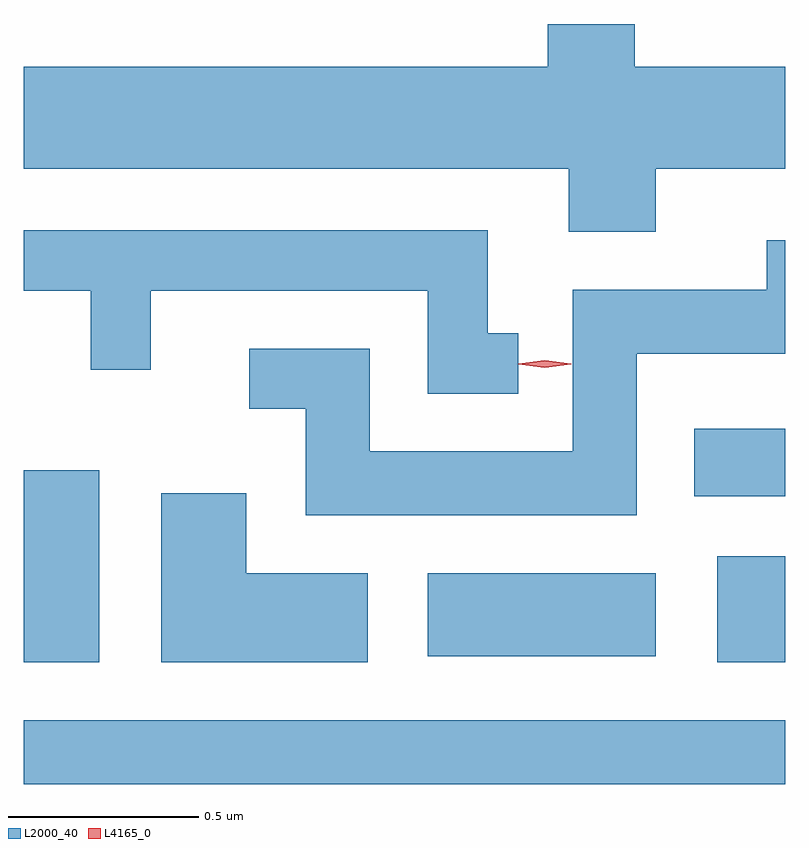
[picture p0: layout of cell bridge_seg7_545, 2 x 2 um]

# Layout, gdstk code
import gdstk
lib = gdstk.Library(unit=1e-6, precision=1e-09)
def R(c, l, rs):  # rectangles x0, y0, x1, y1
    for r in rs: c.add(gdstk.rectangle(r[:2], r[2:], *l))
def P(c, l, *ps):  # polygons
    for p in ps: c.add(gdstk.Polygon(p, *l))
L2000_40 = (2000, 40)
L4165_0 = (4165, 0)

bridge_seg7_545 = lib.new_cell('bridge_seg7_545')
R(bridge_seg7_545, L2000_40, [(867.67,1770.421,869.67,1770.589), (867.67,1770.741,867.869,1771.244), (869.491,1770.741,869.67,1771.019), (868.731,1770.756,869.329,1770.974), (869.431,1771.176,869.67,1771.354)])
P(bridge_seg7_545, L2000_40, [(869.329,1772.036),(869.67,1772.036),(869.67,1772.304),(869.274,1772.304),(869.274,1772.416),(869.046,1772.416),(869.046,1772.304),(867.67,1772.304),(867.67,1772.036),(869.101,1772.036),(869.101,1771.871),(869.329,1771.871)],
  [(868.968,1771.604),(868.889,1771.604),(868.889,1771.874),(867.67,1771.874),(867.67,1771.716),(867.846,1771.716),(867.846,1771.508),(868.004,1771.508),(868.004,1771.716),(868.731,1771.716),(868.731,1771.446),(868.968,1771.446)],
  [(869.279,1771.551),(869.67,1771.551),(869.67,1771.848),(869.621,1771.848),(869.621,1771.719),(869.111,1771.719),(869.111,1771.294),(868.579,1771.294),(868.579,1771.564),(868.263,1771.564),(868.263,1771.406),(868.411,1771.406),(868.411,1771.126),(869.279,1771.126)],
  [(868.574,1770.974),(868.254,1770.974),(868.254,1771.184),(868.031,1771.184),(868.031,1770.741),(868.574,1770.741)])
P(bridge_seg7_545, L4165_0, [(869.038,1771.514),(868.969,1771.523),(868.969,1771.524),(868.969,1771.524),(869.038,1771.534),(869.108,1771.524),(869.108,1771.524),(869.108,1771.523)])

lib.write_gds('bridge_seg7_545.gds')
